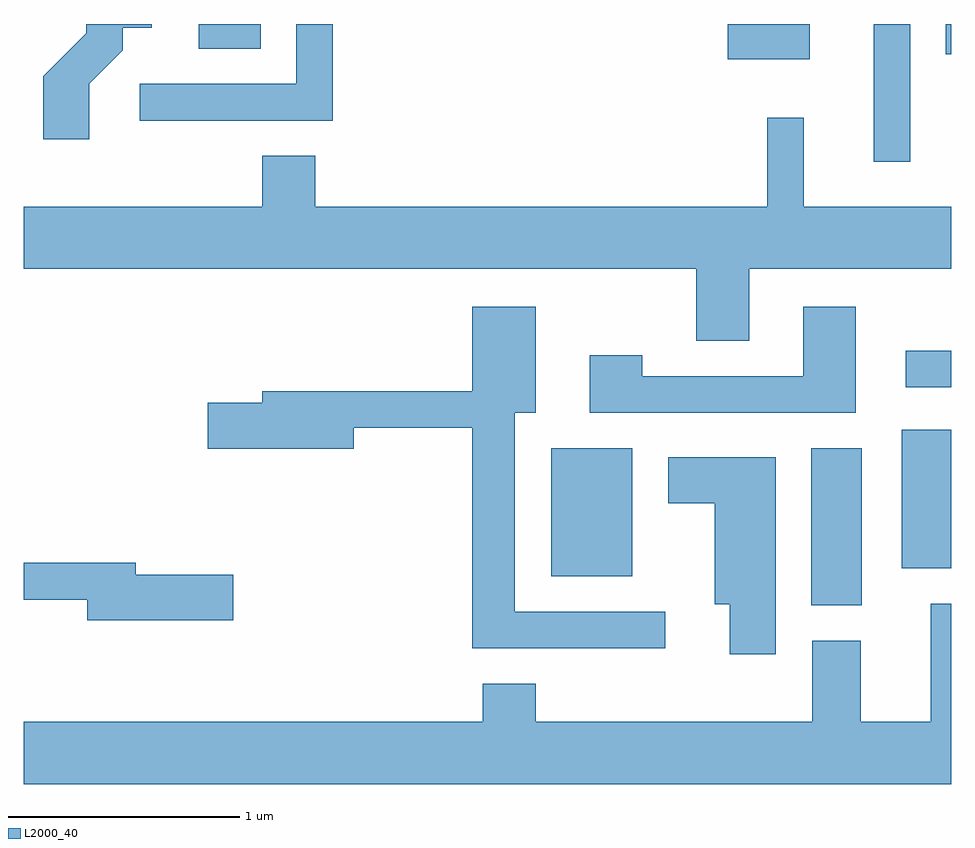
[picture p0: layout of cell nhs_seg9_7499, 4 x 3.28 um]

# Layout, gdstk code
import gdstk
lib = gdstk.Library(unit=1e-6, precision=1e-09)
def R(c, l, rs):  # rectangles x0, y0, x1, y1
    for r in rs: c.add(gdstk.rectangle(r[:2], r[2:], *l))
def P(c, l, *ps):  # polygons
    for p in ps: c.add(gdstk.Polygon(p, *l))
L2000_40 = (2000, 40)

nhs_seg9_7499 = lib.new_cell('nhs_seg9_7499')
R(nhs_seg9_7499, L2000_40, [(411.006,1985.926,411.224,1986.604), (409.886,1986.051,410.234,1986.604), (411.396,1986.086,411.611,1986.684), (411.413,1986.866,411.611,1987.024), (411.276,1987.838,411.434,1988.432), (410.646,1988.281,410.999,1988.432), (411.586,1988.301,411.611,1988.432), (408.366,1988.326,408.634,1988.432)])
P(nhs_seg9_7499, L2000_40, [(408.944,1988.432),(408.786,1988.432),(408.786,1988.174),(408.113,1988.174),(408.113,1988.016),(408.944,1988.016)],
  [(407.894,1988.174),(408.039,1988.319),(408.039,1988.416),(408.164,1988.416),(408.164,1988.432),(407.881,1988.432),(407.881,1988.392),(407.696,1988.207),(407.696,1987.936),(407.894,1987.936)],
  [(410.739,1987.376),(411.611,1987.376),(411.611,1987.644),(410.974,1987.644),(410.974,1988.028),(410.816,1988.028),(410.816,1987.644),(408.869,1987.644),(408.869,1987.864),(408.641,1987.864),(408.641,1987.644),(407.611,1987.644),(407.611,1987.376),(410.511,1987.376),(410.511,1987.066),(410.739,1987.066)],
  [(410.378,1985.899),(409.729,1985.899),(409.729,1986.756),(409.819,1986.756),(409.819,1987.214),(409.546,1987.214),(409.546,1986.849),(408.641,1986.849),(408.641,1986.799),(408.406,1986.799),(408.406,1986.601),(409.034,1986.601),(409.034,1986.691),(409.546,1986.691),(409.546,1985.741),(410.378,1985.741)],
  [(411.199,1987.214),(410.971,1987.214),(410.971,1986.914),(410.279,1986.914),(410.279,1987.004),(410.051,1987.004),(410.051,1986.756),(411.199,1986.756)],
  [(410.854,1986.564),(410.391,1986.564),(410.391,1986.366),(410.591,1986.366),(410.591,1985.931),(410.656,1985.931),(410.656,1985.716),(410.854,1985.716)],
  [(408.514,1986.059),(408.094,1986.059),(408.094,1986.109),(407.611,1986.109),(407.611,1985.951),(407.886,1985.951),(407.886,1985.861),(408.514,1985.861)],
  [(411.611,1985.934),(411.521,1985.934),(411.521,1985.424),(411.219,1985.424),(411.219,1985.774),(411.011,1985.774),(411.011,1985.424),(409.819,1985.424),(409.819,1985.589),(409.591,1985.589),(409.591,1985.424),(407.611,1985.424),(407.611,1985.156),(411.611,1985.156)])

lib.write_gds('nhs_seg9_7499.gds')
